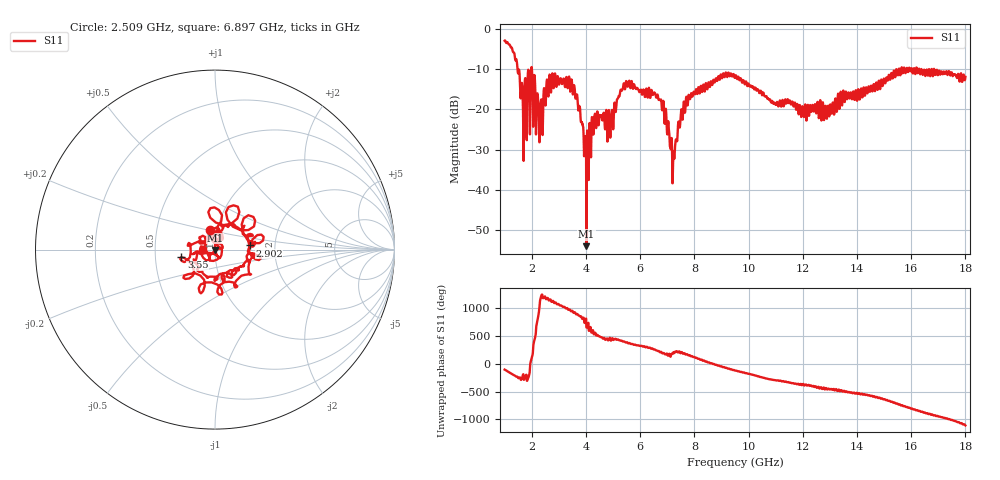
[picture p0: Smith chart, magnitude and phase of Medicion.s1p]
!Keysight Technologies N9917A: A.09.53
!Date: Thursday, 10 October 2019 14:10:46
!TimeZone: (UTC-08:00) Pacific Time (US & Canada)!Model: N9917A
!Serial: MY56072049
!GPS Latitude:
!GPS Longitude:
!GPS TimeStamp: 0001-01-01 00:00:00Z
!GPS Seconds Since Last Read: 0
!CHECKSUM:0773849327
!Correction: S11(ON U)
!S1P File: Measurement: S11:
# Hz S DB R 50
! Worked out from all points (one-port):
!   1601 points, 1 GHz to 18 GHz, reference 50 ohm
!   lowest |S11| = -54.1 dB at 4.018 GHz (marker M1), VSWR 1.00, Z = 50.1 - j0.185 ohm
!   |S11| at or under -10 dB: 1.476 GHz to 1.983 GHz (506.4 MHz wide, 29.3 % of centre); 2.006 GHz to 15.55 GHz (13.54 GHz wide, 154 % of centre); 16.85 GHz to end of sweep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
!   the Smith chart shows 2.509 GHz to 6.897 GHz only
!   S11 on the Smith chart (normalised r, x): 2.509 GHz: 0.93, +0.20; 2.902 GHz: 1.48, +0.07; 3.55 GHz: 0.68, -0.06; 6.897 GHz: 0.87, -0.01
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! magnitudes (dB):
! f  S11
! 1 GHz  -2.9
! 1.372 GHz  -6.6
! 1.744 GHz  -13.1
! 1.818 GHz  -27.7
! 1.871 GHz  -10.1
! 2.041 GHz  -19.9
! 2.339 GHz  -17.9
! 2.509 GHz  -19.0
! 2.902 GHz  -14.2
! 3.125 GHz  -13.7
! 3.55 GHz  -14.3
! 4.018 GHz  -54.1
! 4.283 GHz  -25.7
! 4.857 GHz  -21.2
! 5.25 GHz  -16.3
! 5.548 GHz  -14.3
! 6.482 GHz  -16.3
! 6.897 GHz  -23.3
! 7.184 GHz  -32.7
! 7.375 GHz  -27.1
! 7.864 GHz  -16.9
! 9.5 GHz  -12.0
! 10.93 GHz  -18.6
! 11.62 GHz  -18.2
! 12.85 GHz  -19.1
! 13.75 GHz  -16.4
! 15.88 GHz  -10.7
! 18 GHz  -11.9
